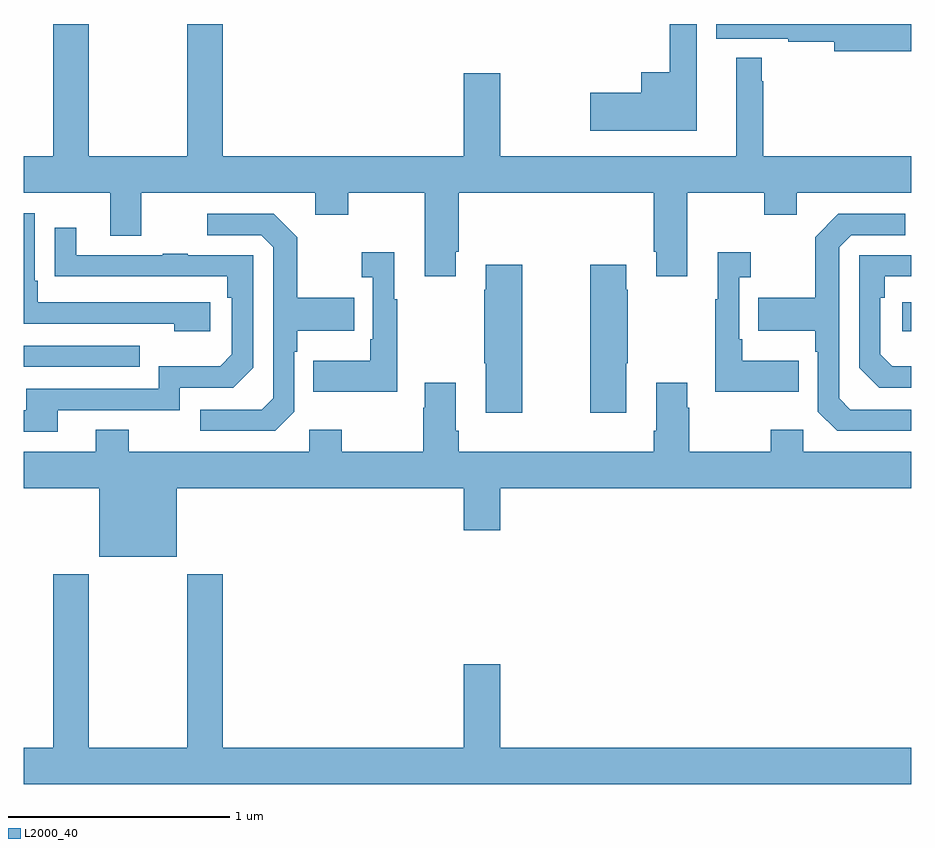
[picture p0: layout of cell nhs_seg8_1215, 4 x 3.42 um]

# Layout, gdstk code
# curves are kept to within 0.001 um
import gdstk
lib = gdstk.Library(unit=1e-6, precision=1e-09)
def R(c, l, rs):  # rectangles x0, y0, x1, y1
    for r in rs: c.add(gdstk.rectangle(r[:2], r[2:], *l))
def P(c, l, *ps):  # polygons
    for p in ps: c.add(gdstk.Polygon(p, *l))
L2000_40 = (2000, 40)

nhs_seg8_1215 = lib.new_cell('nhs_seg8_1215')
R(nhs_seg8_1215, L2000_40, [(187,1142.355,187.523,1142.451), (190.959,1142.516,191,1142.646)])
P(nhs_seg8_1215, L2000_40, [(188.947,1142.875),(188.96,1142.875),(188.96,1143.14),(189.839,1143.14),(189.839,1142.875),(189.851,1142.875),(189.851,1142.763),(189.991,1142.763),(189.991,1143.14),(190.336,1143.14),(190.336,1143.041),(190.483,1143.041),(190.483,1143.14),(191,1143.14),(191,1143.304),(190.333,1143.304),(190.333,1143.641),(190.326,1143.641),(190.326,1143.748),(190.211,1143.748),(190.211,1143.304),(189.148,1143.304),(189.148,1143.679),(188.984,1143.679),(188.984,1143.304),(187.898,1143.304),(187.898,1143.9),(187.738,1143.9),(187.738,1143.304),(187.293,1143.304),(187.293,1143.9),(187.133,1143.9),(187.133,1143.304),(187,1143.304),(187,1143.14),(187.391,1143.14),(187.391,1142.946),(187.531,1142.946),(187.531,1143.14),(188.315,1143.14),(188.315,1143.041),(188.463,1143.041),(188.463,1143.14),(188.807,1143.14),(188.807,1142.763),(188.947,1142.763)],
  [(191,1143.9),(190.121,1143.9),(190.121,1143.833),(190.444,1143.833),(190.444,1143.82),(190.652,1143.82),(190.652,1143.778),(191,1143.778)],
  [(190.033,1143.9),(189.912,1143.9),(189.912,1143.682),(189.782,1143.682),(189.782,1143.59),(189.552,1143.59),(189.552,1143.419),(190.033,1143.419)],
  [(187.84,1142.646),(187.063,1142.646),(187.063,1142.743),(187.05,1142.743),(187.05,1143.048),(187,1143.048),(187,1142.55),(187.679,1142.55),(187.679,1142.516),(187.84,1142.516)],
  [(191,1142.163),(190.725,1142.163),(190.674,1142.214),(190.674,1142.895),(190.728,1142.949),(190.972,1142.949),(190.972,1143.045),(190.671,1143.045),(190.566,1142.939),(190.566,1142.667),(190.309,1142.667),(190.309,1142.519),(190.566,1142.519),(190.566,1142.423),(190.578,1142.423),(190.578,1142.154),(190.665,1142.067),(191,1142.067)],
  [(188.22,1142.154),(188.22,1142.423),(188.233,1142.423),(188.233,1142.519),(188.489,1142.519),(188.489,1142.667),(188.233,1142.667),(188.233,1142.939),(188.127,1143.045),(187.827,1143.045),(187.827,1142.949),(188.07,1142.949),(188.124,1142.895),(188.124,1142.214),(188.073,1142.163),(187.797,1142.163),(187.797,1142.067),(188.133,1142.067)],
  [(187.153,1142.16),(187.704,1142.16),(187.704,1142.262),(187.944,1142.262),(188.034,1142.352),(188.034,1142.859),(187.739,1142.859),(187.739,1142.864),(187.627,1142.864),(187.627,1142.859),(187.237,1142.859),(187.237,1142.983),(187.141,1142.983),(187.141,1142.764),(187.918,1142.763),(187.918,1142.666),(187.938,1142.666),(187.938,1142.412),(187.885,1142.359),(187.608,1142.359),(187.608,1142.256),(187.013,1142.256),(187.013,1142.16),(187,1142.16),(187,1142.064),(187.153,1142.064)],
  [(188.683,1142.659),(188.671,1142.659),(188.671,1142.872),(188.523,1142.872),(188.523,1142.759),(188.574,1142.759),(188.574,1142.479),(188.562,1142.479),(188.562,1142.383),(188.305,1142.383),(188.305,1142.243),(188.683,1142.243)],
  [(190.493,1142.383),(190.237,1142.383),(190.237,1142.479),(190.224,1142.479),(190.224,1142.759),(190.276,1142.759),(190.276,1142.872),(190.127,1142.872),(190.127,1142.659),(190.116,1142.659),(190.116,1142.243),(190.493,1142.243)],
  [(191,1142.359),(190.913,1142.359),(190.86,1142.412),(190.86,1142.666),(190.88,1142.666),(190.88,1142.763),(191,1142.763),(191,1142.859),(190.764,1142.859),(190.764,1142.352),(190.854,1142.262),(191,1142.262)],
  [(189.715,1142.371),(189.723,1142.371),(189.723,1142.702),(189.715,1142.702),(189.715,1142.815),(189.553,1142.815),(189.553,1142.148),(189.715,1142.148)],
  [(189.246,1142.815),(189.083,1142.815),(189.083,1142.702),(189.076,1142.702),(189.076,1142.371),(189.083,1142.371),(189.083,1142.148),(189.246,1142.148)],
  [(187.69,1141.808),(188.984,1141.808),(188.984,1141.62),(189.148,1141.62),(189.148,1141.808),(191,1141.808),(191,1141.972),(190.512,1141.972),(190.512,1142.071),(190.366,1142.071),(190.366,1141.972),(189.999,1141.972),(189.999,1142.171),(189.991,1142.171),(189.991,1142.284),(189.851,1142.284),(189.851,1142.068),(189.839,1142.068),(189.839,1141.972),(188.96,1141.972),(188.96,1142.068),(188.947,1142.068),(188.947,1142.284),(188.807,1142.284),(188.807,1142.171),(188.8,1142.171),(188.8,1141.972),(188.433,1141.972),(188.433,1142.071),(188.286,1142.071),(188.286,1141.972),(187.473,1141.972),(187.473,1142.071),(187.325,1142.071),(187.325,1141.972),(187,1141.972),(187,1141.808),(187.34,1141.808),(187.34,1141.499),(187.69,1141.499)],
  [(191,1140.64),(189.148,1140.64),(189.148,1141.015),(188.984,1141.015),(188.984,1140.64),(187.898,1140.64),(187.898,1141.42),(187.738,1141.42),(187.738,1140.64),(187.293,1140.64),(187.293,1141.42),(187.133,1141.42),(187.133,1140.64),(187,1140.64),(187,1140.476),(191,1140.476)])

lib.write_gds('nhs_seg8_1215.gds')
